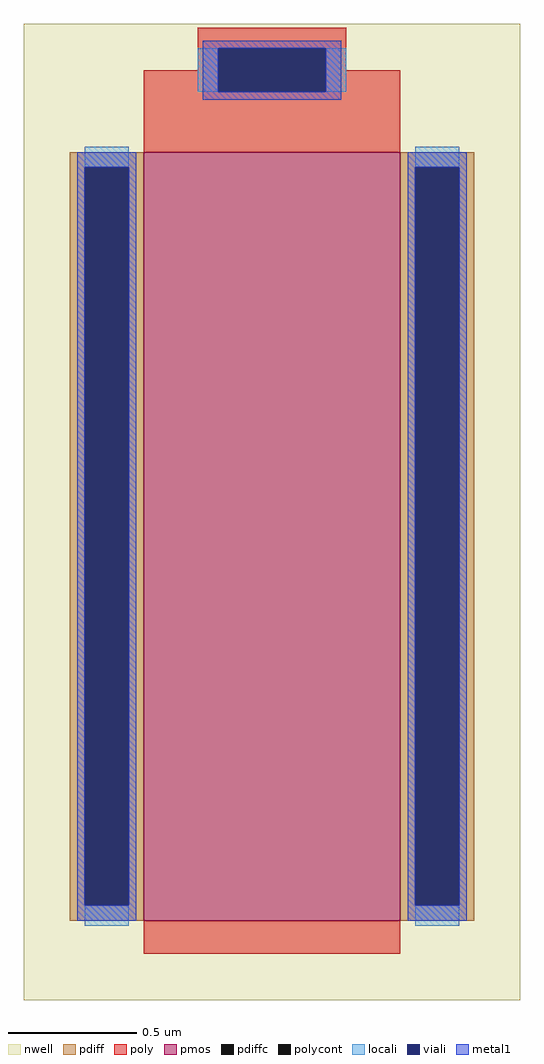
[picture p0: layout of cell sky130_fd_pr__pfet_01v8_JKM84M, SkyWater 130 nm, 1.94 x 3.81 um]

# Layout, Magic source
magic
tech sky130A
magscale 1 2
<< nwell >>
rect -194 -398 194 364
<< pmos >>
rect -100 -336 100 264
<< pdiff >>
rect -158 252 -100 264
rect -158 -324 -146 252
rect -112 -324 -100 252
rect -158 -336 -100 -324
rect 100 252 158 264
rect 100 -324 112 252
rect 146 -324 158 252
rect 100 -336 158 -324
<< pdiffc >>
rect -146 -324 -112 252
rect 112 -324 146 252
<< poly >>
rect -58 345 58 361
rect -58 328 -42 345
rect -100 311 -42 328
rect 42 328 58 345
rect 42 311 100 328
rect -100 264 100 311
rect -100 -362 100 -336
<< polycont >>
rect -42 311 42 345
<< locali >>
rect -58 311 -42 345
rect 42 311 58 345
rect -146 252 -112 268
rect -146 -340 -112 -324
rect 112 252 146 268
rect 112 -340 146 -324
<< viali >>
rect -42 311 42 345
rect -146 -324 -112 252
rect 112 -324 146 252
<< metal1 >>
rect -54 345 54 351
rect -54 311 -42 345
rect 42 311 54 345
rect -54 305 54 311
rect -152 252 -106 264
rect -152 -324 -146 252
rect -112 -324 -106 252
rect -152 -336 -106 -324
rect 106 252 152 264
rect 106 -324 112 252
rect 146 -324 152 252
rect 106 -336 152 -324
<< properties >>
string gencell sky130_fd_pr__pfet_01v8
string library sky130
string parameters w 3.0 l 1.0 m 1 nf 1 diffcov 100 polycov 50 guard 0 glc 0 grc 0 gtc 0 gbc 0 tbcov 100 rlcov 100 topc 1 botc 0 poverlap 0 doverlap 1 lmin 0.15 wmin 0.42 compatible {sky130_fd_pr__pfet_01v8  sky130_fd_pr__pfet_01v8_lvt sky130_fd_pr__pfet_01v8_hvt  sky130_fd_pr__pfet_g5v0d10v5} full_metal 0 viasrc 100 viadrn 100 viagate 50 viagb 0 viagr 0 viagl 0 viagt 0
<< end >>
